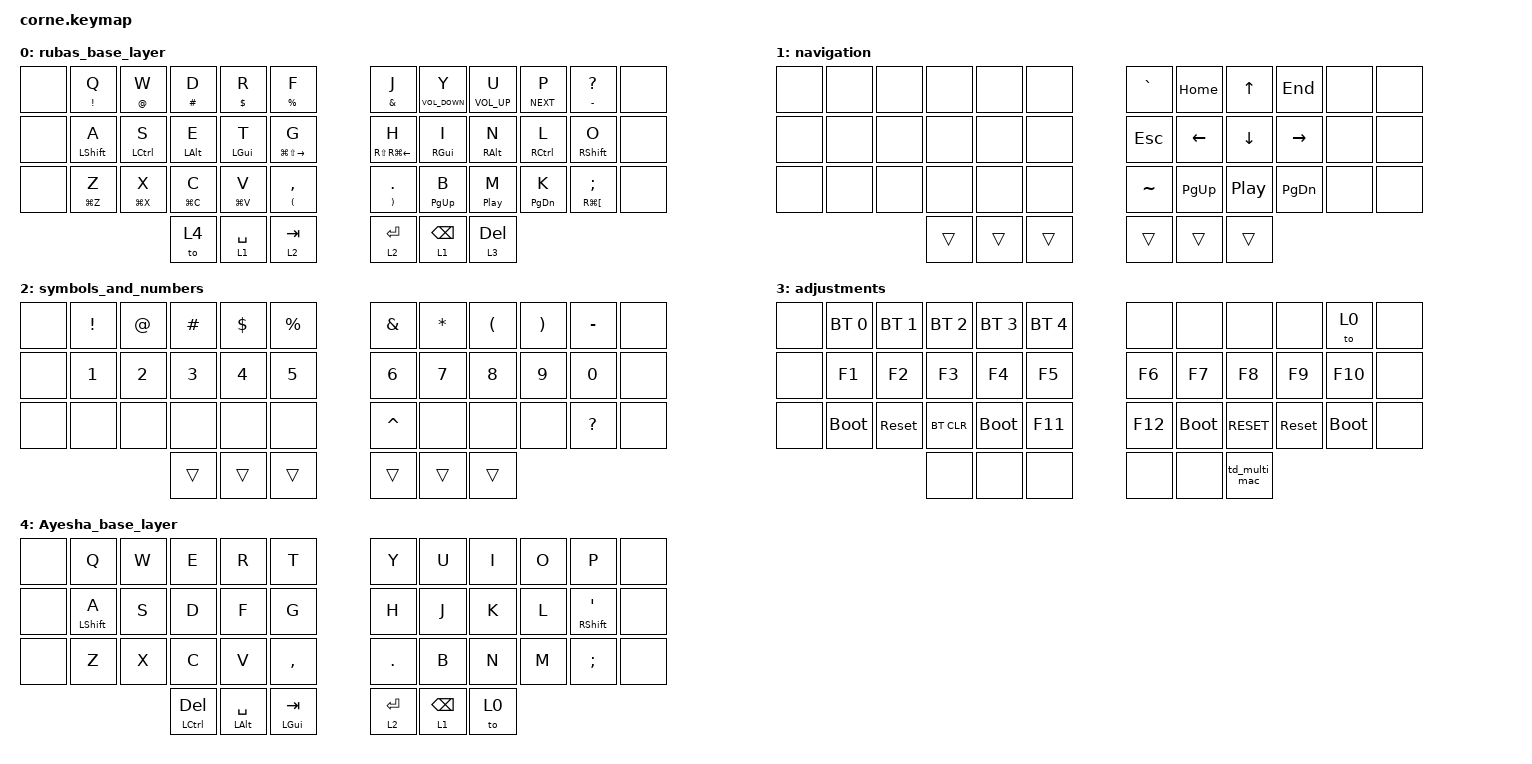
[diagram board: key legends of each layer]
#include <behaviors.dtsi>
#include <dt-bindings/zmk/bt.h>
#include <dt-bindings/zmk/keys.h>

// Layers

#define MAC 4
#define MAC_CODE 5
#define MAC_NUM 6
#define MAC_FUNC 7
#define WIN 0
#define WIN_CODE 1
#define WIN_NUM 2
#define WIN_FUNC 3

// Behavior Overrides

&lt {
    tapping-term-ms = <200>;
    flavor = "hold-preferred";
};

/ {
    //combos {
    //  compatible = "zmk,combos";
    //combo_tab {
    //  timeout-ms = <20>;
    //  key-positions = <1 2>;
    //  bindings = <&kp TAB>;
    //};
    //  combo_enter {
    //    timeout-ms = <20>;
    //  key-positions = <13 14>;
    //bindings = <&kp ENTER>;
    //};
    //};

    macros {
        spotlight: spotlight {
            label = "spotlight";
            compatible = "zmk,behavior-macro";
            #binding-cells = <0>;
            bindings =
                <&macro_press>,
                <&kp LGUI>,
                <&macro_tap>,
                <&kp SPACE>,
                <&macro_release>,
                <&kp LGUI>;
        };

        // Emoji

        mac_emoji: mac_emoji {
            label = "mac_emoji";
            compatible = "zmk,behavior-macro";
            #binding-cells = <0>;
            bindings =
                <&macro_press>,
                <&kp LGUI>,
                <&macro_press>,
                <&kp LCTRL>,
                <&macro_tap>,
                <&kp SPACE>,
                <&macro_release>,
                <&kp LCTRL>,
                <&macro_release>,
                <&kp LGUI>;
        };

        win_emoji: win_emoji {
            label = "win_emoji";
            compatible = "zmk,behavior-macro";
            #binding-cells = <0>;
            bindings =
                <&macro_press>,
                <&kp LGUI>,
                <&macro_tap>,
                <&kp DOT>,
                <&macro_release>,
                <&kp LGUI>;
        };
    };

    behaviors {
        td_multi_mac: tap_dance_multi_mac {
            compatible = "zmk,behavior-tap-dance";
            label = "TAP_DANCE_MULTI_MAC";
            #binding-cells = <0>;
            tapping-term-ms = <200>;
            bindings = <&kp ESC>, <&spotlight>, <&mac_emoji>;
        };

        td_multi_windows: tap_dance_multi_windows {
            compatible = "zmk,behavior-tap-dance";
            label = "TAP_DANCE_MULTI_WINDOWS";
            #binding-cells = <0>;
            tapping-term-ms = <200>;
            bindings = <&kp ESC>, <&kp LGUI>, <&win_emoji>;
        };

        bm: bottom_row_mods {
            compatible = "zmk,behavior-hold-tap";
            label = "BOTTOM_ROW_MODS";
            #binding-cells = <2>;
            tapping-term-ms = <135>;
            quick-tap-ms = <0>;
            flavor = "tap-preferred";
            bindings = <&kp>, <&kp>;
        };

        cm: code_row_mods {
            compatible = "zmk,behavior-hold-tap";
            label = "CODE_ROW_MODS";
            #binding-cells = <2>;
            tapping-term-ms = <200>;
            quick-tap-ms = <0>;
            flavor = "tap-preferred";
            bindings = <&kp>, <&kp>;

            retro-tap;
        };

        sm: space_mod {
            compatible = "zmk,behavior-hold-tap";
            label = "SPACE_MOD";
            #binding-cells = <2>;
            flavor = "balanced";
            tapping-term-ms = <200>;
            quick-tap-ms = <125>;
            bindings = <&kp>, <&kp>;
        };
    };

    combos {
        compatible = "zmk,combos";

        esc {
            bindings = <&kp ESC>;
            key-positions = <1 2>;
        };
    };

    keymap {
        compatible = "zmk,keymap";

        rubas_base_layer {
            bindings = <
&none  &mt EXCLAMATION Q  &mt AT_SIGN W       &mt HASH D      &mt DOLLAR R    &mt PERCENT F                 &mt AMPERSAND J               &mt C_VOLUME_DOWN Y  &mt C_VOLUME_UP U   &mt C_NEXT P         &mt MINUS QUESTION              &none
&none  &mt LEFT_SHIFT A   &mt LEFT_CONTROL S  &mt LEFT_ALT E  &mt LEFT_GUI T  &mt LG(LS(RIGHT)) G           &mt RS(RG(LEFT_ARROW)) H      &mt RIGHT_GUI I      &mt RIGHT_ALT N     &mt RIGHT_CONTROL L  &mt RIGHT_SHIFT O               &none
&none  &mt LG(Z) Z        &mt LG(X) X         &mt LG(C) C     &mt LG(V) V     &mt LEFT_PARENTHESIS COMMA    &mt RIGHT_PARENTHESIS PERIOD  &mt PAGE_UP B        &mt C_PLAY_PAUSE M  &mt PAGE_DOWN K      &mt RG(LEFT_BRACKET) SEMICOLON  &none
                                              &to 4           &lt 1 SPACE     &lt 2 TAB                     &lt 2 ENTER                   &lt 1 BACKSPACE      &lt 3 DEL
            >;
        };

        navigation {
            bindings = <
&none  &none  &none  &none   &none   &none     &kp GRAVE  &kp HOME     &kp UP_ARROW      &kp END        &none  &none
&none  &none  &none  &none   &none   &none     &kp ESC    &kp LEFT     &kp DOWN_ARROW    &kp RIGHT      &none  &none
&none  &none  &none  &none   &none   &none     &kp TILDE  &kp PAGE_UP  &kp C_PLAY_PAUSE  &kp PAGE_DOWN  &none  &none
                     &trans  &trans  &trans    &trans     &trans       &trans
            >;
        };

        symbols_and_numbers {
            bindings = <
&none  &kp EXCL  &kp AT  &kp HASH  &kp DLLR  &kp PRCNT    &kp AMPERSAND  &kp ASTERISK  &kp LEFT_PARENTHESIS  &kp RIGHT_PARENTHESIS  &kp MINUS     &none
&none  &kp N1    &kp N2  &kp N3    &kp N4    &kp N5       &kp N6         &kp N7        &kp N8                &kp N9                 &kp N0        &none
&none  &none     &none   &none     &none     &none        &kp CARET      &none         &none                 &none                  &kp QUESTION  &none
                         &trans    &trans    &trans       &trans         &trans        &trans
            >;
        };

        adjustments {
            bindings = <
&none  &bt BT_SEL 0  &bt BT_SEL 1  &bt BT_SEL 2  &bt BT_SEL 3  &bt BT_SEL 4    &none    &none        &none          &none       &to 0        &none
&none  &kp F1        &kp F2        &kp F3        &kp F4        &kp F5          &kp F6   &kp F7       &kp F8         &kp F9      &kp F10      &none
&none  &bootloader   &sys_reset    &bt BT_CLR    &bootloader   &kp F11         &kp F12  &bootloader  &kp C_RESET    &sys_reset  &bootloader  &none
                                   &none         &none         &none           &none    &none        &td_multi_mac
            >;
        };

        Ayesha_base_layer {
            bindings = <
&none  &kp Q             &kp W  &kp E                 &kp R               &kp T               &kp Y        &kp U            &kp I  &kp O  &kp P                &none
&none  &mt LEFT_SHIFT A  &kp S  &kp D                 &kp F               &kp G               &kp H        &kp J            &kp K  &kp L  &mt RIGHT_SHIFT SQT  &none
&none  &kp Z             &kp X  &kp C                 &kp V               &kp COMMA           &kp DOT      &kp B            &kp N  &kp M  &kp SEMICOLON        &none
                                &mt LEFT_CONTROL DEL  &mt LEFT_ALT SPACE  &mt LEFT_GUI TAB    &lt 2 ENTER  &lt 1 BACKSPACE  &to 0
            >;
        };
    };
};
